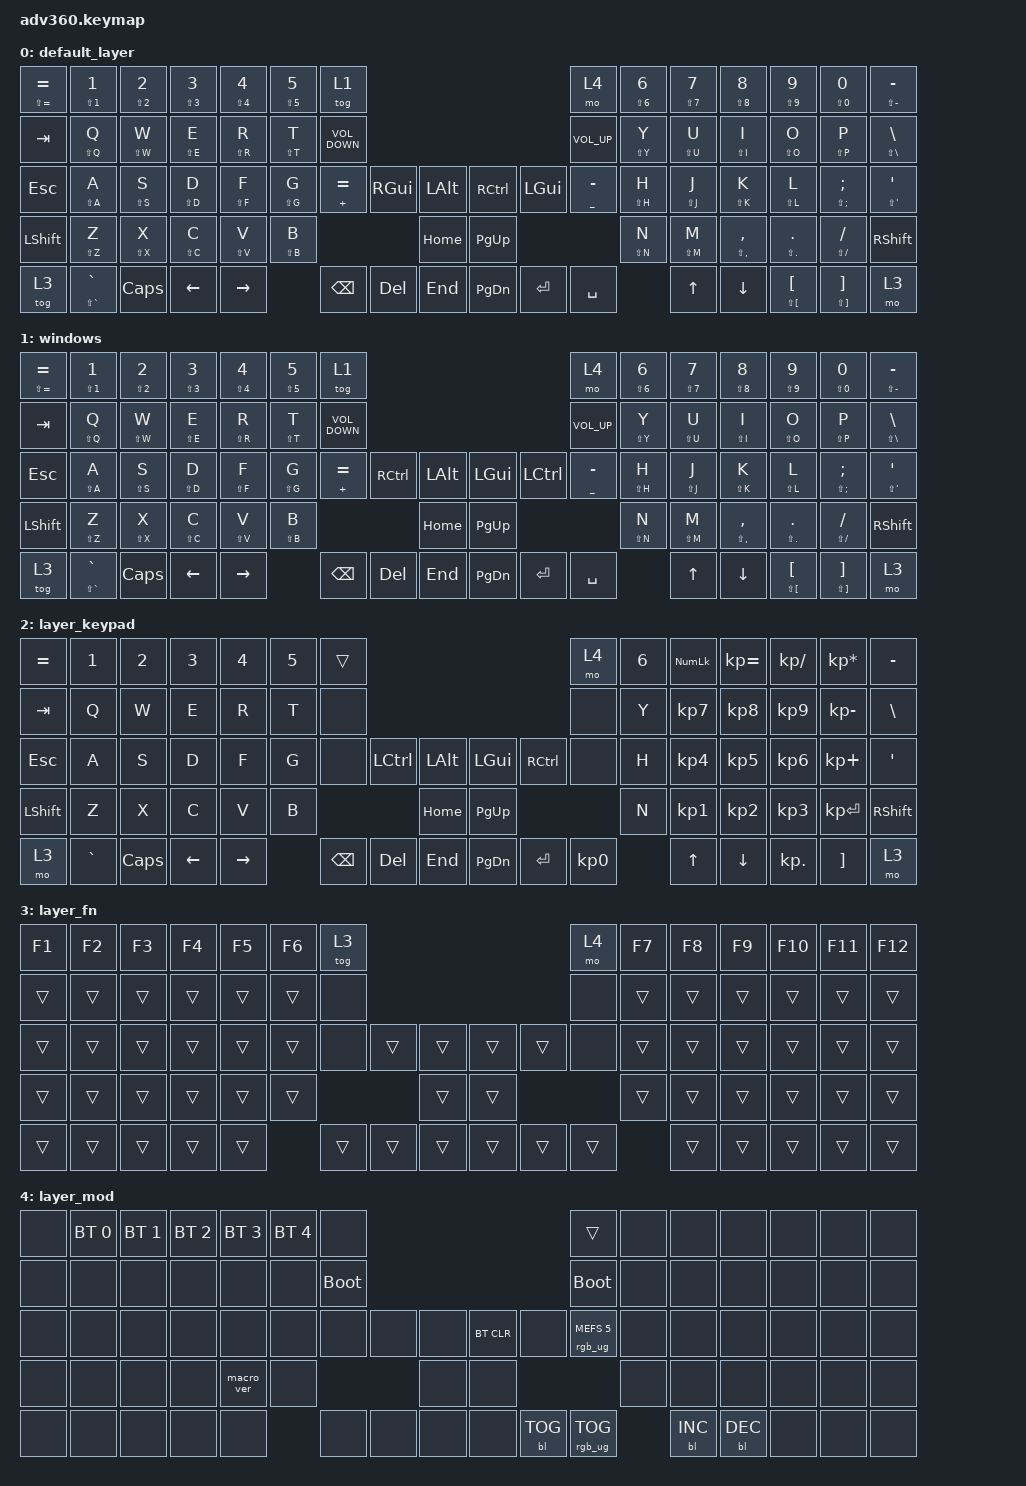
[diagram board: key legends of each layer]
/*
 * Copyright (c) 2020 The ZMK Contributors
 *
 * SPDX-License-Identifier: MIT
 */

#include <behaviors.dtsi>
#include <dt-bindings/zmk/backlight.h>
#include <dt-bindings/zmk/bt.h>
#include <dt-bindings/zmk/keys.h>
#include <dt-bindings/zmk/rgb.h>

/ {
    behaviors {
        #include "macros.dtsi"
    #include "version.dtsi"

        hm: homerow_mods {
            compatible = "zmk,behavior-hold-tap";
            label = "HOMEROW_MODS";
            #binding-cells = <2>;
            tapping-term-ms = <200>;
            quick_tap_ms = <175>;
            flavor = "tap-preferred";
            bindings = <&kp>, <&kp>;
        };

        as: auto_shift {
            compatible = "zmk,behavior-hold-tap";
            label = "AUTO_SHIFT";
            #binding-cells = <2>;
            tapping-term-ms = <200>;
            quick_tap_ms = <0>;
            flavor = "tap-preferred";
            bindings = <&kp>, <&kp>;
        };
    };

    keymap {
        compatible = "zmk,keymap";

        default_layer {
            bindings = <
&as LS(EQUAL) EQUAL  &as LS(N1) N1        &as LS(N2) N2  &as LS(N3) N3  &as LS(N4) N4  &as LS(N5) N5  &tog 1                                                                   &mo 4                 &as LS(N6) N6  &as LS(N7) N7  &as LS(N8) N8        &as LS(N9) N9      &as LS(N0) N0      &as LS(MINUS) MINUS
&kp TAB              &as LS(Q) Q          &as LS(W) W    &as LS(E) E    &as LS(R) R    &as LS(T) T    &kp C_VOLUME_DOWN                                                        &kp C_VOLUME_UP       &as LS(Y) Y    &as LS(U) U    &as LS(I) I          &as LS(O) O        &as LS(P) P        &as LS(BSLH) BSLH
&kp ESC              &as LS(A) A          &as LS(S) S    &as LS(D) D    &as LS(F) F    &as LS(G) G    &as PLUS EQUAL     &kp RGUI  &kp LALT      &kp RIGHT_CONTROL  &kp LGUI   &as UNDERSCORE MINUS  &as LS(H) H    &as LS(J) J    &as LS(K) K          &as LS(L) L        &as LS(SEMI) SEMI  &as LS(SQT) SQT
&kp LSHFT            &as LS(Z) Z          &as LS(X) X    &as LS(C) C    &as LS(V) V    &as LS(B) B                                 &kp HOME      &kp PG_UP                                           &as LS(N) N    &as LS(M) M    &as LS(COMMA) COMMA  &as LS(DOT) DOT    &as LS(FSLH) FSLH  &kp RSHFT
&tog 3               &as LS(GRAVE) GRAVE  &kp CAPS       &kp LEFT       &kp RIGHT                     &kp BSPC           &kp DEL   &kp END       &kp PG_DN          &kp ENTER  &kp SPACE                            &kp UP         &kp DOWN             &as LS(LBKT) LBKT  &as LS(RBKT) RBKT  &mo 3
            >;
        };

        windows {
            bindings = <
&as LS(EQUAL) EQUAL  &as LS(N1) N1        &as LS(N2) N2  &as LS(N3) N3  &as LS(N4) N4  &as LS(N5) N5  &tog 1                                                            &mo 4                 &as LS(N6) N6  &as LS(N7) N7  &as LS(N8) N8        &as LS(N9) N9      &as LS(N0) N0      &as LS(MINUS) MINUS
&kp TAB              &as LS(Q) Q          &as LS(W) W    &as LS(E) E    &as LS(R) R    &as LS(T) T    &kp C_VOLUME_DOWN                                                 &kp C_VOLUME_UP       &as LS(Y) Y    &as LS(U) U    &as LS(I) I          &as LS(O) O        &as LS(P) P        &as LS(BSLH) BSLH
&kp ESC              &as LS(A) A          &as LS(S) S    &as LS(D) D    &as LS(F) F    &as LS(G) G    &as PLUS EQUAL     &kp RCTRL  &kp LALT      &kp LGUI   &kp LCTRL  &as UNDERSCORE MINUS  &as LS(H) H    &as LS(J) J    &as LS(K) K          &as LS(L) L        &as LS(SEMI) SEMI  &as LS(SQT) SQT
&kp LSHFT            &as LS(Z) Z          &as LS(X) X    &as LS(C) C    &as LS(V) V    &as LS(B) B                                  &kp HOME      &kp PG_UP                                   &as LS(N) N    &as LS(M) M    &as LS(COMMA) COMMA  &as LS(DOT) DOT    &as LS(FSLH) FSLH  &kp RSHFT
&tog 3               &as LS(GRAVE) GRAVE  &kp CAPS       &kp LEFT       &kp RIGHT                     &kp BSPC           &kp DEL    &kp END       &kp PG_DN  &kp ENTER  &kp SPACE                            &kp UP         &kp DOWN             &as LS(LBKT) LBKT  &as LS(RBKT) RBKT  &mo 3
            >;
        };

        layer_keypad {
            bindings = <
&kp EQUAL  &kp N1     &kp N2    &kp N3    &kp N4     &kp N5  &trans                                                   &mo 4      &kp N6  &kp KP_NUM  &kp KP_EQUAL  &kp KP_DIVIDE  &kp KP_MULTIPLY  &kp MINUS
&kp TAB    &kp Q      &kp W     &kp E     &kp R      &kp T   &none                                                    &none      &kp Y   &kp KP_N7   &kp KP_N8     &kp KP_N9      &kp KP_MINUS     &kp BSLH
&kp ESC    &kp A      &kp S     &kp D     &kp F      &kp G   &none     &kp LCTRL  &kp LALT      &kp LGUI   &kp RCTRL  &none      &kp H   &kp KP_N4   &kp KP_N5     &kp KP_N6      &kp KP_PLUS      &kp SQT
&kp LSHFT  &kp Z      &kp X     &kp C     &kp V      &kp B                        &kp HOME      &kp PG_UP                        &kp N   &kp KP_N1   &kp KP_N2     &kp KP_N3      &kp KP_ENTER     &kp RSHFT
&mo 3      &kp GRAVE  &kp CAPS  &kp LEFT  &kp RIGHT          &kp BSPC  &kp DEL    &kp END       &kp PG_DN  &kp ENTER  &kp KP_N0          &kp UP      &kp DOWN      &kp KP_DOT     &kp RBKT         &mo 3
            >;
        };

        layer_fn {
            bindings = <
&kp F1  &kp F2  &kp F3  &kp F4  &kp F5  &kp F6  &tog 3                                      &mo 4   &kp F7  &kp F8  &kp F9  &kp F10  &kp F11  &kp F12
&trans  &trans  &trans  &trans  &trans  &trans  &none                                       &none   &trans  &trans  &trans  &trans   &trans   &trans
&trans  &trans  &trans  &trans  &trans  &trans  &none   &trans  &trans      &trans  &trans  &none   &trans  &trans  &trans  &trans   &trans   &trans
&trans  &trans  &trans  &trans  &trans  &trans                  &trans      &trans                  &trans  &trans  &trans  &trans   &trans   &trans
&trans  &trans  &trans  &trans  &trans          &trans  &trans  &trans      &trans  &trans  &trans          &trans  &trans  &trans   &trans   &trans
            >;
        };

        layer_mod {
            bindings = <
&none  &bt BT_SEL 0  &bt BT_SEL 1  &bt BT_SEL 2  &bt BT_SEL 3  &bt BT_SEL 4  &none                                                  &trans                  &none  &none       &none       &none  &none  &none
&none  &none         &none         &none         &none         &none         &bootloader                                            &bootloader             &none  &none       &none       &none  &none  &none
&none  &none         &none         &none         &none         &none         &none        &none  &none      &bt BT_CLR  &none       &rgb_ug RGB_MEFS_CMD 5  &none  &none       &none       &none  &none  &none
&none  &none         &none         &none         &macro_ver    &none                             &none      &none                                           &none  &none       &none       &none  &none  &none
&none  &none         &none         &none         &none                       &none        &none  &none      &none       &bl BL_TOG  &rgb_ug RGB_TOG                &bl BL_INC  &bl BL_DEC  &none  &none  &none
            >;
        };
    };
};
